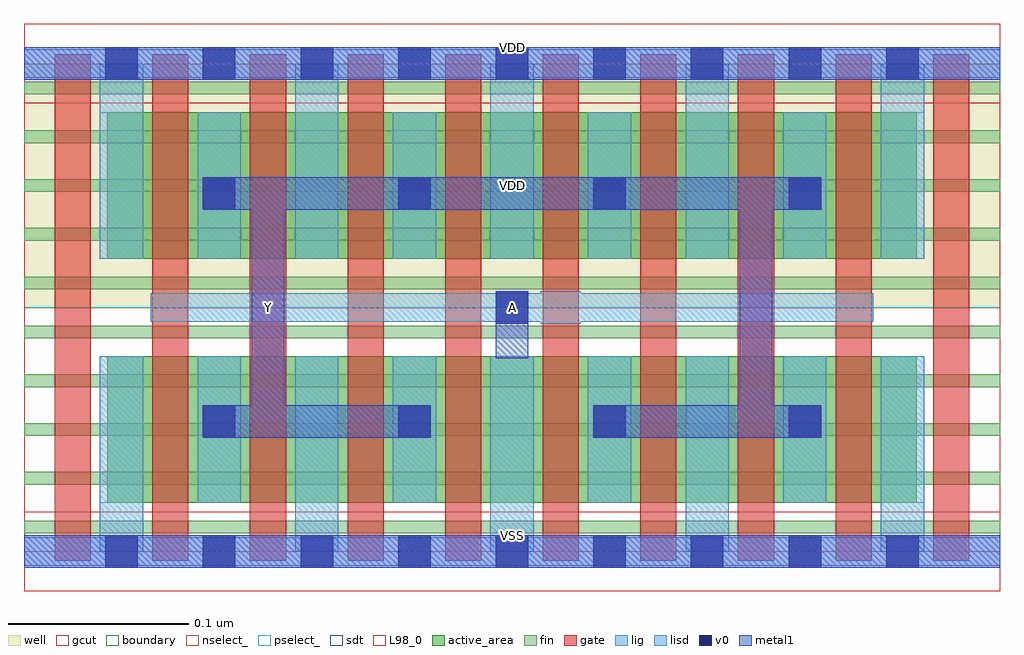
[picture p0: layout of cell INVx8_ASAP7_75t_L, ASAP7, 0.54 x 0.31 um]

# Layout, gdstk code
import gdstk
lib = gdstk.Library(unit=1e-6, precision=2.5e-10)
def R(c, l, rs):  # rectangles x0, y0, x1, y1
    for r in rs: c.add(gdstk.rectangle(r[:2], r[2:], *l))
def A(c, l, x, y, w, h, nx, ny, dx, dy):  # array of equal rectangles
    R(c, l, [(x+i*dx, y+j*dy, x+i*dx+w, y+j*dy+h) for i in range(nx) for j in range(ny)])
def P(c, l, *ps):  # polygons
    for p in ps: c.add(gdstk.Polygon(p, *l))
well = (1, 0)
fin = (2, 0)
gate = (7, 0)
gcut = (10, 0)
active_area = (11, 0)
nselect_ = (12, 0)
pselect_ = (13, 0)
lig = (16, 0)
lisd = (17, 0)
v0 = (18, 0)
metal1 = (19, 0)
sdt = (88, 0)
L98_0 = (98, 0)
boundary = (100, 0)

invx8_asap7_75t_l = lib.new_cell('INVx8_ASAP7_75t_L')
R(invx8_asap7_75t_l, well, [(0,0.135,0.54,0.27)])
A(invx8_asap7_75t_l, fin, 0, 0.01, 0.54, 0.007, 1, 10, 0, 0.027)
A(invx8_asap7_75t_l, gate, 0.017, -0.005, 0.02, 0.28, 10, 1, 0.054, 0)
R(invx8_asap7_75t_l, gcut, [(0,-0.022,0.54,0.022), (0,0.248,0.54,0.292)])
R(invx8_asap7_75t_l, active_area, [(0.046,0.027,0.494,0.108), (0.046,0.162,0.494,0.243)])
R(invx8_asap7_75t_l, nselect_, [(0,0,0.54,0.135)])
R(invx8_asap7_75t_l, pselect_, [(0,0.135,0.54,0.27)])
R(invx8_asap7_75t_l, lig, [(0,-0.008,0.54,0.008), (0.286,0.126,0.308,0.144), (0.07,0.127,0.47,0.143), (0,0.262,0.54,0.278)])
A(invx8_asap7_75t_l, lisd, 0.096, 0.027, 0.024, 0.081, 4, 2, 0.108, 0.135)
R(invx8_asap7_75t_l, lisd, [(0.042,0,0.066,0.108), (0.042,0,0.066,0.108), (0.15,0,0.174,0.108), (0.15,0,0.174,0.108), (0.258,0,0.282,0.108), (0.258,0,0.282,0.108), (0.366,0,0.39,0.108), (0.366,0,0.39,0.108), (0.474,0,0.498,0.108), (0.474,0,0.498,0.108), (0.042,0.162,0.066,0.27), (0.042,0.162,0.066,0.27), (0.15,0.162,0.174,0.27), (0.15,0.162,0.174,0.27), (0.258,0.162,0.282,0.27), (0.258,0.162,0.282,0.27), (0.366,0.162,0.39,0.27), (0.366,0.162,0.39,0.27), (0.474,0.162,0.498,0.27), (0.474,0.162,0.498,0.27)])
A(invx8_asap7_75t_l, v0, 0.045, -0.009, 0.018, 0.018, 9, 2, 0.054, 0.27)
A(invx8_asap7_75t_l, v0, 0.099, 0.063, 0.018, 0.018, 4, 2, 0.108, 0.126)
R(invx8_asap7_75t_l, v0, [(0.261,0.126,0.279,0.144)])
A(invx8_asap7_75t_l, metal1, 0.099, 0.063, 0.018, 0.018, 4, 2, 0.108, 0.126)
R(invx8_asap7_75t_l, metal1, [(0,-0.009,0.54,0.009), (0.261,0.107,0.279,0.144), (0.261,0.126,0.279,0.144), (0,0.261,0.54,0.279)])
P(invx8_asap7_75t_l, metal1, [(0.315,0.081),(0.315,0.063),(0.441,0.063),(0.441,0.081),(0.414,0.081),(0.414,0.189),(0.441,0.189),(0.441,0.207),(0.099,0.207),(0.099,0.189),(0.126,0.189),(0.126,0.081),(0.099,0.081),(0.099,0.063),(0.225,0.063),(0.225,0.081),(0.144,0.081),(0.144,0.189),(0.396,0.189),(0.396,0.081)])
A(invx8_asap7_75t_l, sdt, 0.042, 0.027, 0.024, 0.081, 3, 2, 0.054, 0.135)
A(invx8_asap7_75t_l, sdt, 0.15, 0.027, 0.024, 0.081, 3, 2, 0.054, 0.135)
A(invx8_asap7_75t_l, sdt, 0.258, 0.027, 0.024, 0.081, 3, 2, 0.054, 0.135)
A(invx8_asap7_75t_l, sdt, 0.366, 0.027, 0.024, 0.081, 3, 2, 0.054, 0.135)
R(invx8_asap7_75t_l, sdt, [(0.042,0.027,0.066,0.108), (0.474,0.027,0.498,0.108), (0.042,0.162,0.066,0.243), (0.474,0.162,0.498,0.243)])
R(invx8_asap7_75t_l, L98_0, [(0,0,0.54,0.27)])
R(invx8_asap7_75t_l, boundary, [(0,0,0.54,0.27)])
invx8_asap7_75t_l.add(gdstk.Label('VDD', (0.27,0.2025), layer=1, texttype=251))
invx8_asap7_75t_l.add(gdstk.Label('VSS', (0.27,-0.0675), layer=3, texttype=251))
invx8_asap7_75t_l.add(gdstk.Label('VSS', (0.27,0.009), layer=19, texttype=251))
invx8_asap7_75t_l.add(gdstk.Label('VDD', (0.27,0.279), layer=19, texttype=251))
invx8_asap7_75t_l.add(gdstk.Label('A', (0.27,0.135), layer=19, texttype=251))
invx8_asap7_75t_l.add(gdstk.Label('Y', (0.135,0.135), layer=19, texttype=251))

lib.write_gds('INVx8_ASAP7_75t_L.gds')
